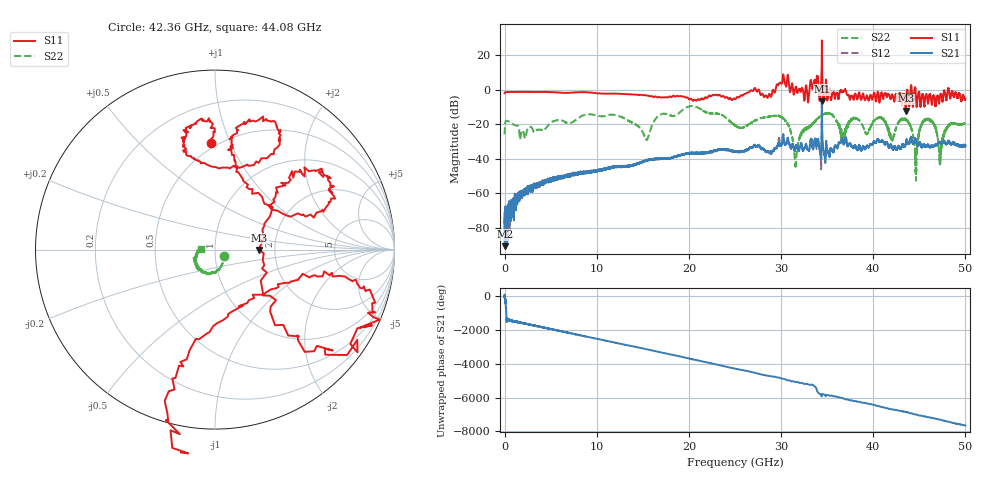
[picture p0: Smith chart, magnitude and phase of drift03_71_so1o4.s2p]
!Created with skrf (http://scikit-rf.org).
# Hz S RI R 50.0
!freq ReS11 ImS11 ReS21 ImS21 ReS12 ImS12 ReS22 ImS22
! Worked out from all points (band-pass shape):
!   10000 points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, 5.3 MHz to 50 GHz, reference 50 ohm
!   highest |S21| = -6.89 dB at 34.43 GHz (marker M1); lowest = -90.5 dB at 35.3 MHz (marker M2)
!   |S21| within 3 dB of the highest: 34.42725 GHz to 34.4346 GHz (7.343 MHz wide, 0.0213 % of centre)
!   lowest |S11| = -12.1 dB at 43.52 GHz (marker M3), VSWR 1.66, Z = 82.9 - j0.247 ohm
!   |S11| at or under -10 dB: 43.48426 GHz to 43.55323 GHz (68.98 MHz wide, 0.158 % of centre); 44.31421 GHz to 44.31546 GHz (1.252 MHz wide, 0.00283 % of centre); 44.70909 GHz to 44.71067 GHz (1.585 MHz wide, 0.00355 % of centre)
!   |S22| runs from -52.6 to -9.4 dB; largest |S21 - S12| = 0.12
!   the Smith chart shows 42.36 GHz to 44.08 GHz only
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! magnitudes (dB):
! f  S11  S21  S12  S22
! 5.3 MHz  -2.1  -87.4  -75.4  -25.9
! 35.3 MHz  -1.7  -90.5  -76.1  -21.9
! 2.13 GHz  -1.3  -58.3  -60.1  -26.5
! 8.34 GHz  -1.5  -47.9  -48.4  -15.3
! 15.4 GHz  -3.5  -40.9  -40.7  -29.0
! 16.67 GHz  -4.4  -40.1  -40.1  -15.3
! 20.47 GHz  -6.5  -36.6  -36.9  -9.5
! 25.01 GHz  -5.5  -35.7  -35.9  -20.8
! 29.93 GHz  4.0  -32.4  -31.6  -15.5
! 31.59 GHz  1.4  -33.8  -33.9  -43.6
! 33.34 GHz  2.7  -30.2  -30.8  -20.1
! 34.43 GHz  28.4  -6.9  -8.4  -14.5
! 36.69 GHz  -1.5  -29.5  -29.8  -27.1
! 37.95 GHz  -3.8  -32.7  -32.7  -16.5
! 41.67 GHz  -2.9  -33.3  -33.4  -23.4
! 43.52 GHz  -12.1  -31.3  -31.3  -17.8
! 44.62 GHz  -2.6  -29.3  -29.4  -46.0
! 45.63 GHz  -5.7  -32.6  -32.7  -17.6
! 46.55 GHz  -3.4  -32.6  -32.6  -19.4
! 47.28 GHz  -3.0  -30.8  -30.8  -38.5
! 48.24 GHz  -1.0  -30.1  -30.0  -20.4
! 50 GHz  -5.2  -32.2  -32.8  -19.7
